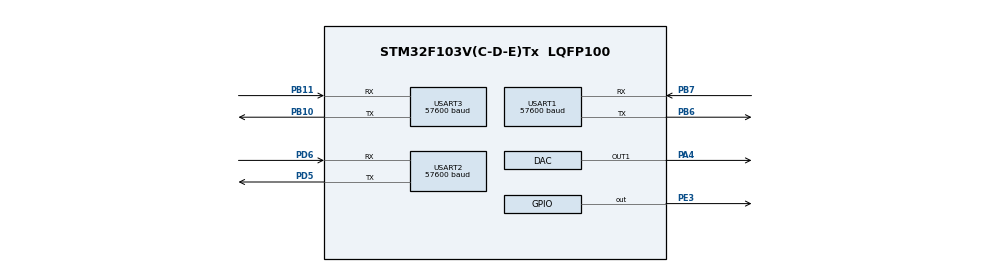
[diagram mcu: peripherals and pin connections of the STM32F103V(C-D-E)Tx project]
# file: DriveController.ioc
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Mcu.Family=STM32F1
Mcu.Name=STM32F103V(C-D-E)Tx
Mcu.Package=LQFP100
NVIC.PriorityGroup=NVIC_PRIORITYGROUP_4
NVIC.TIM2_IRQn=true\:0\:0\:false\:false\:true\:true\:true\:true
NVIC.USART1_IRQn=true\:0\:0\:false\:false\:true\:true\:true\:true
NVIC.USART2_IRQn=true\:0\:0\:false\:false\:true\:true\:true\:true
NVIC.USART3_IRQn=true\:0\:0\:false\:false\:true\:true\:true\:true
PA4.Signal=COMP_DAC1_group
PB10.Mode=Asynchronous
PB10.Signal=USART3_TX
PB11.Mode=Asynchronous
PB11.Signal=USART3_RX
PB6.Mode=Asynchronous
PB6.Signal=USART1_TX
PB7.Mode=Asynchronous
PB7.Signal=USART1_RX
PD5.Mode=Asynchronous
PD5.Signal=USART2_TX
PD6.Mode=Asynchronous
PD6.Signal=USART2_RX
PE3.Signal=GPIO_Output
ProjectManager.HeapSize=0x200
ProjectManager.StackSize=0x400
ProjectManager.TargetToolchain=STM32CubeIDE
RCC.APB1Freq_Value=8000000
RCC.APB2Freq_Value=8000000
SH.COMP_DAC1_group.0=DAC_OUT1,DAC_OUT1
TIM2.ClockDivision=TIM_CLOCKDIVISION_DIV4
TIM2.Period=65533
TIM3.ClockDivision=TIM_CLOCKDIVISION_DIV4
USART1.BaudRate=57600
USART1.VirtualMode=VM_ASYNC
USART2.BaudRate=57600
USART2.VirtualMode=VM_ASYNC
USART3.BaudRate=57600
USART3.VirtualMode=VM_ASYNC
VP_TIM2_VS_ClockSourceINT.Mode=Internal
VP_TIM3_VS_ClockSourceINT.Mode=Internal
VP_TIM4_VS_ClockSourceINT.Mode=Internal
board=custom

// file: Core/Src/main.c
/* USER CODE BEGIN Header */
/**
  ******************************************************************************
  * @file           : main.c
  * @brief          : Main program body
  ******************************************************************************
  * @attention
  *
  * Copyright (c) 2022 STMicroelectronics.
  * All rights reserved.
  *
  * This software is licensed under terms that can be found in the LICENSE file
  * in the root directory of this software component.
  * If no LICENSE file comes with this software, it is provided AS-IS.
  *
  ******************************************************************************
  */
/* USER CODE END Header */
#include "main.h"
#include "string.h"
#include <stdlib.h>

#define DEBUG
#define CMD_DELAY 200
//#include "stdbool.h"

DAC_HandleTypeDef hdac;

TIM_HandleTypeDef htim2;
TIM_HandleTypeDef htim3;
TIM_HandleTypeDef htim4;

UART_HandleTypeDef huart1;
UART_HandleTypeDef huart2;
UART_HandleTypeDef huart3;
DriveTypeDef drive1;
DriveTypeDef drive2;
UserCommandTypeDef userCmd;

/* USER CODE BEGIN PV */
uint8_t UART1_rxBuffer[2];
uint8_t UART2_rxBuffer[2];
uint8_t UART3_rxBuffer[2];
uint8_t nextCmdMaster[15];
uint8_t nextCmdSlave[15];
uint8_t rx[200];
uint8_t test = 0;
uint8_t lastChar = 0;
uint8_t userChar;
uint16_t interCmdDelay = 0;
uint8_t pollIndex = 0;

bool isStart = FALSE;
bool isPolling = FALSE;/*Need to poll drive currents and status continuously*/
bool isLogging = TRUE;/*Need to log drive communications to PC over UART3*/
bool isGraphing = TRUE;/*Need to log drive communications to PC over UART3*/
bool isSyncing = FALSE;/*Need to log drive communications to PC over UART3*/
bool isPositionCheck = FALSE;/*Need to log drive communications to PC over UART3*/
bool isMasterInit = FALSE;
bool isSlaveInit = FALSE;
bool isDelayUpdate = TRUE;
bool fetchNextMaster = TRUE;
bool fetchNextSlave = TRUE;
bool isPollMaster = TRUE;
enum { INIT = 1, RUN = 2, SYNC_RUN = 3, RE_INIT = 4,START = 5 };
uint8_t tst1[15] = "SR\r\0";
uint8_t tst2[15] = "PX=0\r\0";
uint8_t tst3[15] = "IQ\r\0";
uint8_t state = START;
uint8_t prevState = START;

/* USER CODE END PV */

void SystemClock_Config(void);
static void MX_GPIO_Init(void);
static void MX_DAC_Init(void);
static void MX_USART1_UART_Init(void);
static void MX_USART2_UART_Init(void);
static void MX_USART3_UART_Init(void);
static void MX_TIM2_Init(void);
static void MX_TIM3_Init(void);
static void MX_TIM4_Init(void);
uint16_t size(char *ptr);
queue q1,q2;
uint8_t* t;
uint32_t time = 0;

/* USER CODE BEGIN 0 */

/*This function handles all the sequencing */
void StateMachine(){

	/*Main States are 1.Init, 2.ReInit, 3.Run, 4.SyncRun */
	/*Different behaviors depending on isPolling, isGraphing, isPollPosition */
	switch(state){

	case START: isDelayUpdate = TRUE; 	/*At the startup it will be reside on this state */
				setDelay(200);			/*No communication will be happen on this state */

				if(isStart == TRUE){
					writeStringPC("\r\nStarting..\r\n\0");
					HAL_Delay(100);
					setState(INIT);
					ClearCurrentBuffer(&drive1);
					fetchNextMaster = TRUE;
					fetchNextSlave = TRUE;
					isStart = FALSE;
				}
				break;

	case INIT:  if(isSyncing == TRUE){ /*If two or one motor is connected slowly send init commands */

					/*Send Initializing set of commands to both motors*/
					if(isMasterInit == FALSE || isSlaveInit == FALSE){

						/*Get the init commands for master drive */
						if(fetchNextMaster == TRUE){
							getNextMasterCommand(nextCmdMaster);
							fetchNextMaster = FALSE;
						}

						/*Get the init commands for slave drive */
						if(fetchNextSlave == TRUE){
							getNextSlaveCommand(nextCmdSlave);
							fetchNextSlave = FALSE;
						}

					}else{

						/*Inits are completed, set the next state and query the current at a faster rate*/
						isPolling = TRUE;
						setState(SYNC_RUN);
						isDelayUpdate = TRUE;
						setDelay(5);
					}
				}else{

					/*Send Initializing set of commands to Drive1*/
					if(isMasterInit == FALSE){

						if(fetchNextMaster == TRUE){
							getNextMasterCommand(nextCmdMaster);
							fetchNextMaster = FALSE;
						}

					}else{

						/*Init is completed, set the next state and query the current at a faster rate*/
						isPolling = TRUE;
						isDelayUpdate = TRUE;
						setState(RUN);
						setDelay(5);
					}

				}
				break;
	case RUN: /*Keep record the currents and position with drive status*/
			  /*If SYNC command issues in the middle go to re init and init the slave and
			   * then go to the SYNC_RUN state
			   */
				/*if user Buffer is empty, get the commands from pollBuffer and record process and log results*/
				if(fetchNextMaster == TRUE){
					getNextMasterCommand(nextCmdMaster);
					fetchNextMaster = FALSE;
				}

				__NOP();
				break;

	case SYNC_RUN: /*Query current, run the sync algorithm and sync the current*/
				/*if user Buffer is empty, get the commands from pollBuffer and record process and log results*/
				if(fetchNextMaster == TRUE){
					getNextMasterCommand(nextCmdMaster);
					fetchNextMaster = FALSE;
				}

				if(fetchNextSlave == TRUE){
					getNextSlaveCommand(nextCmdSlave);
					fetchNextSlave = FALSE;
				}

				__NOP();
				break;
	case RE_INIT: /*This will happen at the request of user INIT command*/

				break;
	default: break;

	}
}
/* USER CODE END 0 */

int main(void)
{

  /* MCU Configuration--------------------------------------------------------*/

  /* Reset of all peripherals, Initializes the Flash interface and the Systick. */
  HAL_Init();

  /* Configure the system clock */
  SystemClock_Config();

  /* USER CODE BEGIN SysInit */
  /*Use default delay value*/
  interCmdDelay = CMD_DELAY;
  /* USER CODE END SysInit */

  /* Initialize all configured peripherals */
  MX_GPIO_Init();
  MX_DAC_Init();
  MX_USART1_UART_Init();
  MX_USART2_UART_Init();
  MX_USART3_UART_Init();
  MX_TIM2_Init();
  MX_TIM3_Init();
  MX_TIM4_Init();

  /* USER CODE BEGIN 2 */

  /* Will not use the HAL UART libraries due to overrun issue when reading one char at a time */
  /*Start receiving one character in interrupt mode*/
  __HAL_UART_ENABLE_IT(&huart1, UART_IT_RXNE);
  __HAL_UART_ENABLE_IT(&huart2, UART_IT_RXNE);
  __HAL_UART_ENABLE_IT(&huart3, UART_IT_RXNE);

  InitQueue(&q1);
  InitQueue(&q2);

  drive1.isMaster = TRUE;
  drive2.isMaster = FALSE;

  InitDriveData(&drive1);
  InitDriveData(&drive2);

  CreateInitList();
  CreatePollingList();

  htim2.Init.Period = 8333;
  htim2.Instance->ARR = 8333;
  //Setup the timers
  HAL_TIM_Base_Start_IT(&htim2);

  //while(1) time++;
  HAL_TIM_Base_Start_IT(&htim3);
  HAL_TIM_Base_Start_IT(&htim4);

  writeStringPC("\r\nServo Drive Controller Command Interface..\r\n\>\0");
  writeStringDrive1("\r\0");
  writeStringDrive2("\r\0");

  //HAL_Delay(100);
  //getNextMasterCommand(rx);
 // while (1);
  /* USER CODE END 2 */

  /* Infinite loop */
  /* USER CODE BEGIN WHILE */
  while (1)
  {

	 if(drive1.isCmdAvailable == TRUE){
		 DecodeCommand(&drive1);
		 drive1.isCmdAvailable = FALSE;
		 //if(isLogging == TRUE) void logPC(uint8_t *pStr,bool isMaster)((&drive1)->rxBuffer);
		 if(isLogging == TRUE) logPC((&drive1)->rxBuffer,TRUE);
		 ClearReceiveBuffer(&drive1);
	 }
	 if(drive2.isCmdAvailable == TRUE){
		 DecodeCommand(&drive2);
		 drive2.isCmdAvailable = FALSE;
		 //if(isLogging  == TRUE) writeStringPC((&drive2)->rxBuffer);
		 if(isLogging  == TRUE) logPC((&drive2)->rxBuffer,FALSE);
		 ClearReceiveBuffer(&drive2);
	 }
	 if(userCmd.isCmdAvailable == TRUE){
		 //DecodeCommand(&drive2);
		 userCmd.isCmdAvailable = FALSE;
		 ClearUserBuffer(&userCmd);
	 }
	 CheckReceiveBuffer(&drive1);
	 CheckReceiveBuffer(&drive2);
	 StateMachine();
	 //setDelay(100);
	 //setDelay(5);
	 //drive1.syncCurrent = -10.34568;
	 //CreateCurrentCommand(&drive1);
//	  __HAL_UART_ENABLE_IT(&huart1, UART_IT_RXNE);
//	  __HAL_UART_ENABLE_IT(&huart2, UART_IT_RXNE);
//	  __HAL_UART_ENABLE_IT(&huart3, UART_IT_RXNE);
	 //ProcessUserBuffer(&userCmd);
	 //HAL_UART_Receive_IT (&huart1, UART1_rxBuffer, 1);
	 //HAL_UART_Receive_IT (&huart2, UART2_rxBuffer, 1);
	 //HAL_UART_Receive_IT (&huart3, UART3_rxBuffer, 1);

	  //HAL_UART_Receive_IT (&huart1, UART1_rxBuffer, 1);
    /* USER CODE END WHILE */

		  //HAL_Delay(100);

  }
}

void SystemClock_Config(void)
{
  RCC_OscInitTypeDef RCC_OscInitStruct = {0};
  RCC_ClkInitTypeDef RCC_ClkInitStruct = {0};

  /** Initializes the RCC Oscillators according to the specified parameters
  * in the RCC_OscInitTypeDef structure.
  */
  RCC_OscInitStruct.OscillatorType = RCC_OSCILLATORTYPE_HSI;
  RCC_OscInitStruct.HSIState = RCC_HSI_ON;
  RCC_OscInitStruct.HSICalibrationValue = RCC_HSICALIBRATION_DEFAULT;
  RCC_OscInitStruct.PLL.PLLState = RCC_PLL_NONE;
  if (HAL_RCC_OscConfig(&RCC_OscInitStruct) != HAL_OK)
  {
    Error_Handler();
  }

  /** Initializes the CPU, AHB and APB buses clocks
  */
  RCC_ClkInitStruct.ClockType = RCC_CLOCKTYPE_HCLK|RCC_CLOCKTYPE_SYSCLK
                              |RCC_CLOCKTYPE_PCLK1|RCC_CLOCKTYPE_PCLK2;
  RCC_ClkInitStruct.SYSCLKSource = RCC_SYSCLKSOURCE_HSI;
  RCC_ClkInitStruct.AHBCLKDivider = RCC_SYSCLK_DIV1;
  RCC_ClkInitStruct.APB1CLKDivider = RCC_HCLK_DIV1;
  RCC_ClkInitStruct.APB2CLKDivider = RCC_HCLK_DIV1;

  if (HAL_RCC_ClockConfig(&RCC_ClkInitStruct, FLASH_LATENCY_0) != HAL_OK)
  {
    Error_Handler();
  }
}

static void MX_DAC_Init(void)
{

  DAC_ChannelConfTypeDef sConfig = {0};

  /** DAC Initialization
  */
  hdac.Instance = DAC;
  if (HAL_DAC_Init(&hdac) != HAL_OK)
  {
    Error_Handler();
  }

  /** DAC channel OUT1 config
  */
  sConfig.DAC_Trigger = DAC_TRIGGER_NONE;
  sConfig.DAC_OutputBuffer = DAC_OUTPUTBUFFER_ENABLE;
  if (HAL_DAC_ConfigChannel(&hdac, &sConfig, DAC_CHANNEL_1) != HAL_OK)
  {
    Error_Handler();
  }

}

static void MX_TIM2_Init(void)
{

  TIM_ClockConfigTypeDef sClockSourceConfig = {0};
  TIM_MasterConfigTypeDef sMasterConfig = {0};

  htim2.Instance = TIM2;
  //htim2.Init.Prescaler = 10;
  htim2.Init.Prescaler = CMD_DELAY;    //Number of ms
  htim2.Init.CounterMode = TIM_COUNTERMODE_UP;
  htim2.Init.Period = 8333;
  htim2.Init.ClockDivision = TIM_CLOCKDIVISION_DIV1;
  //htim2.Init.ClockDivision = TIM_CLOCKDIVISION_DIV4;
  htim2.Init.AutoReloadPreload = TIM_AUTORELOAD_PRELOAD_ENABLE;
  if (HAL_TIM_Base_Init(&htim2) != HAL_OK)
  {
    Error_Handler();
  }
  sClockSourceConfig.ClockSource = TIM_CLOCKSOURCE_INTERNAL;
  if (HAL_TIM_ConfigClockSource(&htim2, &sClockSourceConfig) != HAL_OK)
  {
    Error_Handler();
  }
  sMasterConfig.MasterOutputTrigger = TIM_TRGO_RESET;
  sMasterConfig.MasterSlaveMode = TIM_MASTERSLAVEMODE_DISABLE;
  if (HAL_TIMEx_MasterConfigSynchronization(&htim2, &sMasterConfig) != HAL_OK)
  {
    Error_Handler();
  }

}

static void MX_TIM3_Init(void)
{

  TIM_ClockConfigTypeDef sClockSourceConfig = {0};
  TIM_MasterConfigTypeDef sMasterConfig = {0};

  htim3.Instance = TIM3;
  htim3.Init.Prescaler = 0;
  htim3.Init.CounterMode = TIM_COUNTERMODE_UP;
  htim3.Init.Period = 65535;
  htim3.Init.ClockDivision = TIM_CLOCKDIVISION_DIV4;
  htim3.Init.AutoReloadPreload = TIM_AUTORELOAD_PRELOAD_DISABLE;
  if (HAL_TIM_Base_Init(&htim3) != HAL_OK)
  {
    Error_Handler();
  }
  sClockSourceConfig.ClockSource = TIM_CLOCKSOURCE_INTERNAL;
  if (HAL_TIM_ConfigClockSource(&htim3, &sClockSourceConfig) != HAL_OK)
  {
    Error_Handler();
  }
  sMasterConfig.MasterOutputTrigger = TIM_TRGO_RESET;
  sMasterConfig.MasterSlaveMode = TIM_MASTERSLAVEMODE_DISABLE;
  if (HAL_TIMEx_MasterConfigSynchronization(&htim3, &sMasterConfig) != HAL_OK)
  {
    Error_Handler();
  }

}

static void MX_TIM4_Init(void)
{

  TIM_ClockConfigTypeDef sClockSourceConfig = {0};
  TIM_MasterConfigTypeDef sMasterConfig = {0};

  htim4.Instance = TIM4;
  htim4.Init.Prescaler = 0;
  htim4.Init.CounterMode = TIM_COUNTERMODE_UP;
  htim4.Init.Period = 65535;
  htim4.Init.ClockDivision = TIM_CLOCKDIVISION_DIV1;
  htim4.Init.AutoReloadPreload = TIM_AUTORELOAD_PRELOAD_DISABLE;
  if (HAL_TIM_Base_Init(&htim4) != HAL_OK)
  {
    Error_Handler();
  }
  sClockSourceConfig.ClockSource = TIM_CLOCKSOURCE_INTERNAL;
  if (HAL_TIM_ConfigClockSource(&htim4, &sClockSourceConfig) != HAL_OK)
  {
    Error_Handler();
  }
  sMasterConfig.MasterOutputTrigger = TIM_TRGO_RESET;
  sMasterConfig.MasterSlaveMode = TIM_MASTERSLAVEMODE_DISABLE;
  if (HAL_TIMEx_MasterConfigSynchronization(&htim4, &sMasterConfig) != HAL_OK)
  {
    Error_Handler();
  }

}

static void MX_USART1_UART_Init(void)
{

  huart1.Instance = USART1;
  huart1.Init.BaudRate = 57600;
  huart1.Init.WordLength = UART_WORDLENGTH_8B;
  huart1.Init.StopBits = UART_STOPBITS_1;
  huart1.Init.Parity = UART_PARITY_NONE;
  huart1.Init.Mode = UART_MODE_TX_RX;
  huart1.Init.HwFlowCtl = UART_HWCONTROL_NONE;
  huart1.Init.OverSampling = UART_OVERSAMPLING_16;
  if (HAL_UART_Init(&huart1) != HAL_OK)
  {
    Error_Handler();
  }

}

uint8_t UART1_GetChar (void)
{
		/*********** STEPS FOLLOWED *************

	1. Wait for the RXNE bit to set. It indicates that the data has been received and can be read.
	2. Read the data from USART_DR  Register. This also clears the RXNE bit

	****************************************/
	uint8_t Temp;
	uint32_t cnt;
	while ((!(USART1->SR & (1<<5))) && (cnt < 100000) )cnt++;
	//while (!(USART1->SR & (1<<5)) ){
		// Wait for RXNE to SET.. This indicates that the data has been Received

	Temp = USART1->DR;  // Read the data.
	return Temp;
}

uint8_t UART2_GetChar (void)
{
		/*********** STEPS FOLLOWED *************

	1. Wait for the RXNE bit to set. It indicates that the data has been received and can be read.
	2. Read the data from USART_DR  Register. This also clears the RXNE bit

	****************************************/
	uint8_t Temp;
	uint32_t cnt;
	while ((!(USART2->SR & (1<<5))) && (cnt < 100000) )cnt++;
	//while (!(USART2->SR & (1<<5)));  // Wait for RXNE to SET.. This indicates that the data has been Received
	Temp = USART2->DR;  // Read the data.
	return Temp;
}

uint8_t UART3_GetChar (void)
{
		/*********** STEPS FOLLOWED *************

	1. Wait for the RXNE bit to set. It indicates that the data has been received and can be read.
	2. Read the data from USART_DR  Register. This also clears the RXNE bit

	****************************************/
	uint8_t Temp;
	uint32_t cnt;
	while ((!(USART3->SR & (1<<5))) && (cnt < 100000) ) cnt++;
	//while (!(USART3->SR & (1<<5)));  // Wait for RXNE to SET.. This indicates that the data has been Received
	Temp = USART3->DR;  // Read the data.
	return Temp;
}

static void MX_USART2_UART_Init(void)
{

  huart2.Instance = USART2;
  huart2.Init.BaudRate = 57600;
  huart2.Init.WordLength = UART_WORDLENGTH_8B;
  huart2.Init.StopBits = UART_STOPBITS_1;
  huart2.Init.Parity = UART_PARITY_NONE;
  huart2.Init.Mode = UART_MODE_TX_RX;
  huart2.Init.HwFlowCtl = UART_HWCONTROL_NONE;
  huart2.Init.OverSampling = UART_OVERSAMPLING_16;
  if (HAL_UART_Init(&huart2) != HAL_OK)
  {
    Error_Handler();
  }

}

static void MX_USART3_UART_Init(void)
{

  huart3.Instance = USART3;
  huart3.Init.BaudRate = 460800;
  huart3.Init.WordLength = UART_WORDLENGTH_8B;
  huart3.Init.StopBits = UART_STOPBITS_1;
  huart3.Init.Parity = UART_PARITY_NONE;
  huart3.Init.Mode = UART_MODE_TX_RX;
  huart3.Init.HwFlowCtl = UART_HWCONTROL_NONE;
  huart3.Init.OverSampling = UART_OVERSAMPLING_16;
  if (HAL_UART_Init(&huart3) != HAL_OK)
  {
    Error_Handler();
  }

}

static void MX_GPIO_Init(void)
{
  GPIO_InitTypeDef GPIO_InitStruct = {0};

  /* GPIO Ports Clock Enable */
  __HAL_RCC_GPIOE_CLK_ENABLE();
  __HAL_RCC_GPIOA_CLK_ENABLE();
  __HAL_RCC_GPIOB_CLK_ENABLE();
  __HAL_RCC_GPIOD_CLK_ENABLE();

  /*Configure GPIO pin Output Level */
  HAL_GPIO_WritePin(GPIOE, GPIO_PIN_3, GPIO_PIN_RESET);

  /*Configure GPIO pin : PE3 */
  GPIO_InitStruct.Pin = GPIO_PIN_3;
  GPIO_InitStruct.Mode = GPIO_MODE_OUTPUT_PP;
  GPIO_InitStruct.Pull = GPIO_NOPULL;
  GPIO_InitStruct.Speed = GPIO_SPEED_FREQ_LOW;
  HAL_GPIO_Init(GPIOE, &GPIO_InitStruct);

}

/* USER CODE BEGIN 4 */
void writeStringDrive1(uint8_t *pStr){

	//uint8_t s = size(pStr);
	if(*pStr == 0) return;
	HAL_UART_Transmit(&huart1,pStr,size(pStr),10000);

}
void writeStringDrive2(uint8_t *pStr){

	if(*pStr == 0) return;
	//HAL_UART_Transmit(&huart2,pStr,size(pStr),10000);
	HAL_UART_Transmit(&huart2,pStr,size(pStr),10000);

}
void writeStringPC(uint8_t *pStr){

	if(*pStr == 0) return;
	HAL_UART_Transmit(&huart3,pStr,size(pStr),10);
	//Non-Blocking
	//HAL_UART_Transmit_IT(&huart3,pStr,size(pStr));

}

void logPC(uint8_t *pStr,bool isMaster){

	/*Will first remove the CR*/
	//uint8_t size = size(pStr);
	uint8_t *modifiedStr;

	if(isMaster == TRUE)
		writeStringPC("M,\0");
	else
		writeStringPC("S,\0");

	writeStringPC(pStr);

//	for(int i; i<size; i++){
//		if(*(pStr + i) == '\n'
//		*()
//	}
}

void putCharPC(uint8_t chr){

	uint8_t str[2] = {0,0};
	str[0] = chr;
	HAL_UART_Transmit(&huart3,str,1,10);
	//Non-Blocking
	//HAL_UART_Transmit_IT(&huart3,pStr,size(pStr));

}
uint16_t size(char *ptr)
{
    //variable used to access the subsequent array elements.
    int offset = 0;
    //variable that counts the number of elements in your array
    int count = 0;

    //While loop that tests whether the end of the array has been reached
    while (*(ptr + offset) != '\0')
    {
        //increment the count variable
        ++count;
        //advance to the next element of the array
        ++offset;
    }
    //return the size of the array
    return count;
}

void setState(uint8_t st){

	prevState = state;
	state = st;
}

void clearNextCommandMaster(){
	memset(nextCmdMaster,0,15);
}

void clearNextCommandSlave(){
	memset(nextCmdSlave,0,15);
}
/* USER CODE END 4 */

void Error_Handler(void)
{
  __disable_irq();
  while (1)
  {
  }
}
